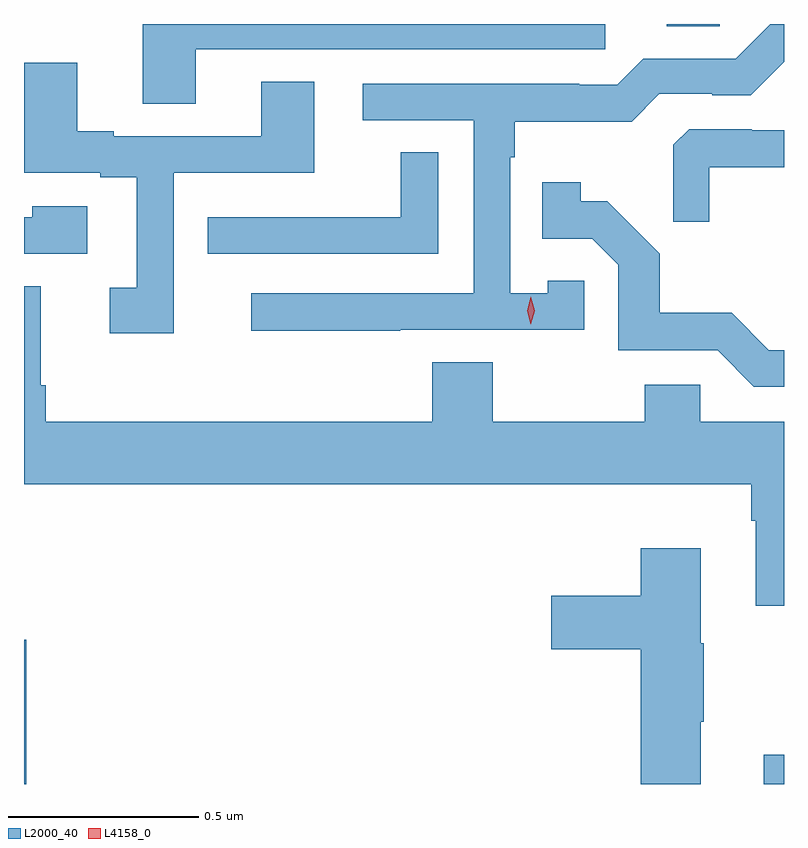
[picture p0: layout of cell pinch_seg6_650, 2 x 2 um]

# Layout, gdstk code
import gdstk
lib = gdstk.Library(unit=1e-6, precision=1e-09)
def R(c, l, rs):  # rectangles x0, y0, x1, y1
    for r in rs: c.add(gdstk.rectangle(r[:2], r[2:], *l))
def P(c, l, *ps):  # polygons
    for p in ps: c.add(gdstk.Polygon(p, *l))
L2000_40 = (2000, 40)
L4158_0 = (4158, 0)

pinch_seg6_650 = lib.new_cell('pinch_seg6_650')
R(pinch_seg6_650, L2000_40, [(433.679,967.859,433.685,968.239), (435.626,967.859,435.679,967.936), (435.371,969.853,435.51,969.859)])
P(pinch_seg6_650, L2000_40, [(434.669,969.054),(435.153,969.054),(435.153,969.183),(435.057,969.183),(435.057,969.151),(434.958,969.151),(434.958,969.509),(434.971,969.509),(434.971,969.602),(435.278,969.602),(435.351,969.675),(435.49,969.675),(435.49,969.672),(435.591,969.672),(435.679,969.76),(435.679,969.859),(435.643,969.859),(435.552,969.768),(435.309,969.768),(435.24,969.699),(435.14,969.699),(435.14,969.702),(434.571,969.702),(434.571,969.606),(434.862,969.606),(434.862,969.15),(434.277,969.15),(434.277,969.052),(434.669,969.052)],
  [(434.131,969.792),(435.208,969.792),(435.208,969.859),(433.991,969.859),(433.991,969.649),(434.131,969.649)],
  [(434.073,969.468),(434.443,969.468),(434.443,969.707),(434.303,969.707),(434.303,969.564),(433.915,969.564),(433.915,969.577),(433.819,969.577),(433.819,969.757),(433.679,969.757),(433.679,969.468),(433.88,969.468),(433.88,969.456),(433.976,969.456),(433.976,969.165),(433.905,969.165),(433.905,969.045),(434.073,969.045)],
  [(435.482,969.482),(435.679,969.482),(435.679,969.579),(435.594,969.579),(435.594,969.582),(435.429,969.582),(435.388,969.541),(435.388,969.339),(435.482,969.339)],
  [(434.769,969.521),(434.671,969.521),(434.671,969.351),(434.275,969.351),(434.275,969.35),(434.163,969.35),(434.163,969.255),(434.769,969.255)],
  [(435.679,969),(435.639,969),(435.541,969.099),(435.352,969.099),(435.352,969.254),(435.214,969.392),(435.144,969.392),(435.144,969.442),(435.043,969.442),(435.043,969.294),(435.174,969.294),(435.243,969.225),(435.243,969),(435.504,969),(435.6,968.904),(435.679,968.904)],
  [(433.846,969.379),(433.701,969.379),(433.701,969.351),(433.679,969.351),(433.679,969.255),(433.846,969.255)],
  [(435.679,968.812),(435.459,968.812),(435.459,968.91),(435.313,968.91),(435.313,968.812),(434.913,968.812),(434.913,968.969),(434.753,968.969),(434.753,968.812),(433.736,968.812),(433.736,968.908),(433.723,968.908),(433.723,969.169),(433.679,969.169),(433.679,968.648),(435.593,968.648),(435.593,968.552),(435.605,968.552),(435.605,968.328),(435.679,968.328)],
  [(435.46,968.023),(435.468,968.023),(435.468,968.229),(435.46,968.229),(435.46,968.479),(435.302,968.479),(435.302,968.355),(435.066,968.355),(435.066,968.213),(435.302,968.213),(435.302,967.859),(435.46,967.859)])
P(pinch_seg6_650, L4158_0, [(435.013,969.069),(435.013,969.069),(435.003,969.105),(435.013,969.141),(435.013,969.141),(435.013,969.141),(435.023,969.105),(435.013,969.069)])

lib.write_gds('pinch_seg6_650.gds')
